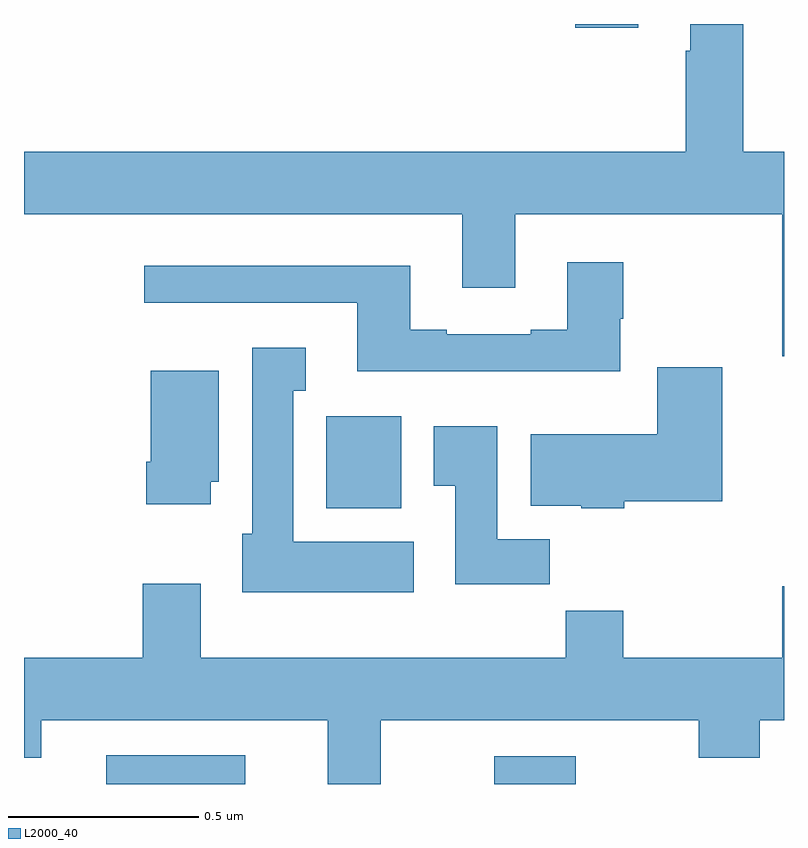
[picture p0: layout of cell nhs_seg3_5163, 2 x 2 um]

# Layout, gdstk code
import gdstk
lib = gdstk.Library(unit=1e-6, precision=1e-09)
def R(c, l, rs):  # rectangles x0, y0, x1, y1
    for r in rs: c.add(gdstk.rectangle(r[:2], r[2:], *l))
def P(c, l, *ps):  # polygons
    for p in ps: c.add(gdstk.Polygon(p, *l))
L2000_40 = (2000, 40)

nhs_seg3_5163 = lib.new_cell('nhs_seg3_5163')
R(nhs_seg3_5163, L2000_40, [(175.217,715.4,175.582,715.476), (176.237,715.4,176.452,715.473), (175.796,716.126,175.993,716.368), (176.45,717.39,176.617,717.4)])
P(nhs_seg3_5163, L2000_40, [(177,717.064),(176.893,717.064),(176.893,717.4),(176.753,717.4),(176.753,717.329),(176.741,717.329),(176.741,717.064),(175,717.064),(175,716.9),(176.153,716.9),(176.153,716.706),(176.293,716.706),(176.293,716.9),(176.996,716.9),(176.996,716.526),(177,716.526)],
  [(176.569,716.625),(176.577,716.625),(176.577,716.773),(176.429,716.773),(176.429,716.596),(176.333,716.596),(176.333,716.583),(176.113,716.583),(176.113,716.596),(176.017,716.596),(176.017,716.764),(175.317,716.764),(175.317,716.667),(175.877,716.667),(175.877,716.486),(176.569,716.486)],
  [(176.026,716.038),(175.708,716.038),(175.708,716.435),(175.741,716.435),(175.741,716.548),(175.601,716.548),(175.601,716.058),(175.574,716.058),(175.574,715.904),(176.026,715.904)],
  [(176.58,716.144),(176.837,716.144),(176.837,716.497),(176.666,716.497),(176.666,716.32),(176.333,716.32),(176.333,716.132),(176.466,716.132),(176.466,716.126),(176.58,716.126)],
  [(175.492,716.196),(175.513,716.196),(175.513,716.488),(175.334,716.488),(175.334,716.248),(175.322,716.248),(175.322,716.136),(175.492,716.136)],
  [(176.384,716.044),(176.245,716.044),(176.245,716.341),(176.078,716.341),(176.078,716.185),(176.135,716.185),(176.135,715.926),(176.384,715.926)],
  [(175.939,715.568),(176.776,715.568),(176.776,715.469),(176.936,715.469),(176.936,715.568),(177,715.568),(177,715.921),(176.996,715.921),(176.996,715.732),(176.577,715.732),(176.577,715.856),(176.425,715.856),(176.425,715.732),(175.465,715.732),(175.465,715.927),(175.313,715.927),(175.313,715.732),(175,715.732),(175,715.469),(175.045,715.469),(175.045,715.568),(175.799,715.568),(175.799,715.4),(175.939,715.4)])

lib.write_gds('nhs_seg3_5163.gds')
